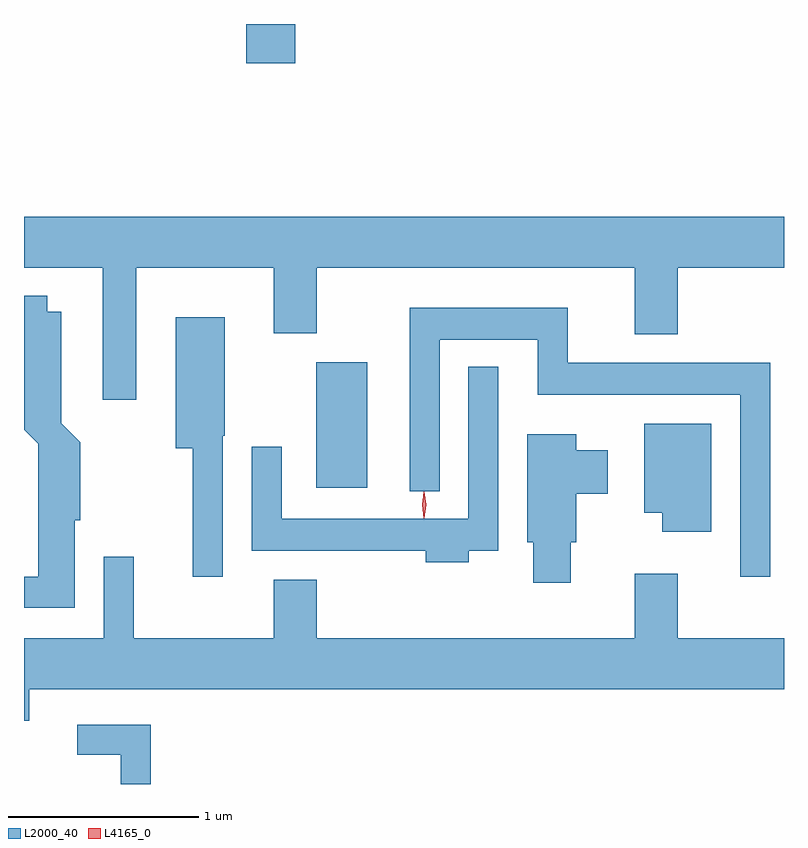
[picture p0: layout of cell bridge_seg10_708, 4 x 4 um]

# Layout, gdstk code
import gdstk
lib = gdstk.Library(unit=1e-6, precision=1e-09)
def R(c, l, rs):  # rectangles x0, y0, x1, y1
    for r in rs: c.add(gdstk.rectangle(r[:2], r[2:], *l))
def P(c, l, *ps):  # polygons
    for p in ps: c.add(gdstk.Polygon(p, *l))
L2000_40 = (2000, 40)
L4165_0 = (4165, 0)

bridge_seg10_708 = lib.new_cell('bridge_seg10_708')
R(bridge_seg10_708, L2000_40, [(862.396,2143.836,862.664,2144.499), (862.026,2146.071,862.284,2146.278)])
P(bridge_seg10_708, L2000_40, [(861.449,2144.996),(862.171,2144.996),(862.171,2144.651),(862.399,2144.651),(862.399,2144.996),(864.071,2144.996),(864.071,2144.646),(864.299,2144.646),(864.299,2144.996),(864.857,2144.996),(864.857,2145.264),(860.857,2145.264),(860.857,2144.996),(861.271,2144.996),(861.271,2144.301),(861.449,2144.301)],
  [(861.124,2143.666),(861.154,2143.666),(861.154,2144.077),(861.054,2144.177),(861.054,2144.764),(860.979,2144.764),(860.979,2144.848),(860.857,2144.848),(860.857,2144.143),(860.931,2144.069),(860.931,2143.369),(860.857,2143.369),(860.857,2143.206),(861.124,2143.206)],
  [(864.784,2144.494),(863.719,2144.494),(863.719,2144.784),(862.886,2144.784),(862.886,2143.818),(863.044,2143.818),(863.044,2144.616),(863.561,2144.616),(863.561,2144.326),(864.626,2144.326),(864.626,2143.368),(864.784,2143.368)],
  [(861.904,2144.11),(861.914,2144.11),(861.914,2144.734),(861.656,2144.734),(861.656,2144.046),(861.746,2144.046),(861.746,2143.368),(861.904,2143.368)],
  [(863.199,2143.506),(863.354,2143.506),(863.354,2144.473),(863.196,2144.473),(863.196,2143.674),(862.214,2143.674),(862.214,2144.053),(862.056,2144.053),(862.056,2143.506),(862.971,2143.506),(862.971,2143.446),(863.199,2143.446)],
  [(864.474,2144.174),(864.121,2144.174),(864.121,2143.706),(864.216,2143.706),(864.216,2143.606),(864.474,2143.606)],
  [(863.734,2143.551),(863.764,2143.551),(863.764,2143.806),(863.929,2143.806),(863.929,2144.034),(863.764,2144.034),(863.764,2144.119),(863.506,2144.119),(863.506,2143.551),(863.536,2143.551),(863.536,2143.336),(863.734,2143.336)],
  [(860.884,2142.776),(864.857,2142.776),(864.857,2143.044),(864.299,2143.044),(864.299,2143.384),(864.071,2143.384),(864.071,2143.044),(862.399,2143.044),(862.399,2143.354),(862.171,2143.354),(862.171,2143.044),(861.434,2143.044),(861.434,2143.473),(861.276,2143.473),(861.276,2143.044),(860.857,2143.044),(860.857,2142.611),(860.884,2142.611)],
  [(861.524,2142.589),(861.138,2142.589),(861.138,2142.431),(861.366,2142.431),(861.366,2142.278),(861.524,2142.278)])
P(bridge_seg10_708, L4165_0, [(862.963,2143.677),(862.962,2143.678),(862.953,2143.747),(862.962,2143.816),(862.963,2143.816),(862.964,2143.816),(862.973,2143.747),(862.964,2143.678)])

lib.write_gds('bridge_seg10_708.gds')
